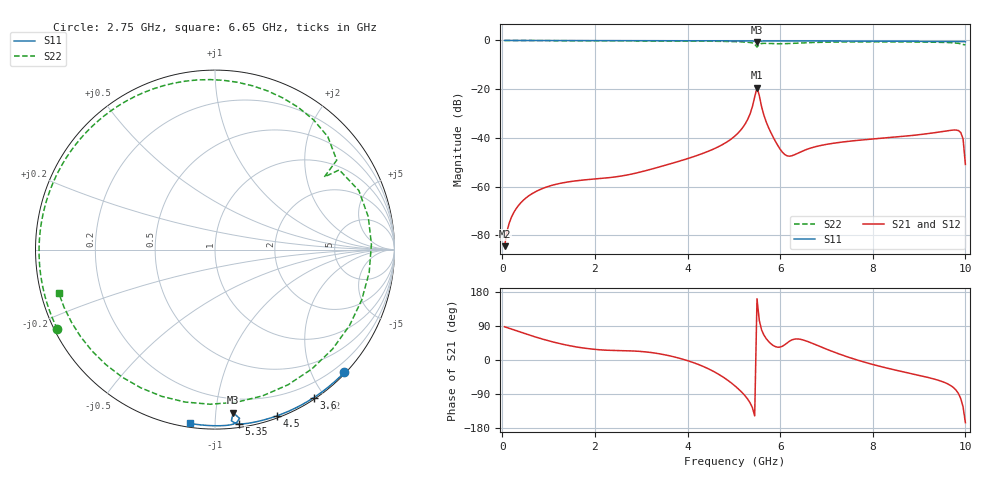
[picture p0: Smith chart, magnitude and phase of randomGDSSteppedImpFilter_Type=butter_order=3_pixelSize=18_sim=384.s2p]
! freq	dB(S11)	phase(S11)	dB(S12)	phase(S12)
!  dB(S21)	phase(S21)	dB(S22)	phase(S22)
!S-par simulation data
#  GHz  S  DB  R 50
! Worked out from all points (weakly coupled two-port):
!   200 points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, 50 MHz to 10 GHz, reference 50 ohm
!   highest |S21| = -19.36 dB at 5.5 GHz (marker M1); lowest = -84.4 dB at 50 MHz (marker M2)
!   lowest |S11| = -0.8 dB at 5.5 GHz (marker M3), VSWR 22.53, Z = 4.98 - j55.6 ohm
!   |S11| at or under -10 dB: nowhere
!   |S22| runs from -2.7 to 0.0 dB; largest |S21 - S12| = 0
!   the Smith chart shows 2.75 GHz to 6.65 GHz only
!   S11 on the Smith chart (normalised r, x): 2.75 GHz: 0.02, -2.51; 3.6 GHz: 0.02, -1.87; 4.5 GHz: 0.02, -1.44; 5.35 GHz: 0.02, -1.15; 6.65 GHz: 0.02, -0.86
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0.05  -0.00 -0.8  -84.39 87.7  -84.39 87.7  -0.00 -3.5
0.55  -0.01 -8.9  -64.04 67.1  -64.04 67.1  -0.05 -37.5
1.15  -0.02 -18.5  -59.04 45.9  -59.04 45.9  -0.09 -74.9
1.75  -0.04 -28.0  -57.25 31.7  -57.25 31.7  -0.11 -107.5
2.75  -0.06 -43.5  -54.98 24.1  -54.98 24.1  -0.14 -153.2
3.4  -0.07 -53.3  -51.85 16.3  -51.85 16.3  -0.17 179.6
3.6  -0.08 -56.3  -50.76 11.4  -50.76 11.4  -0.19 171.0
4.5  -0.10 -69.4  -45.06 -26.2  -45.06 -26.2  -0.29 127.1
5.05  -0.12 -77.3  -38.75 -71.1  -38.75 -71.1  -0.50 87.1
5.35  -0.17 -82.2  -30.14 -112.8  -30.14 -112.8  -0.84 52.8
5.5  -0.77 -83.6  -19.36 161.6  -19.36 161.6  -2.72 33.6
5.75  -0.17 -85.8  -35.77 48.8  -35.77 48.8  -1.23 -8.4
6.1  -0.17 -90.9  -46.81 40.3  -46.81 40.3  -1.32 -82.1
6.4  -0.18 -95.0  -46.09 55.3  -46.09 55.3  -1.08 -133.5
6.65  -0.19 -98.3  -44.20 46.2  -44.20 46.2  -0.88 -164.5
6.7  -0.19 -98.9  -43.91 43.8  -43.91 43.8  -0.85 -169.7
7.45  -0.24 -108.6  -41.43 8.4  -41.43 8.4  -0.60 134.1
8.35  -0.31 -120.0  -39.87 -22.7  -39.87 -22.7  -0.57 87.3
9.1  -0.38 -129.3  -38.44 -43.3  -38.44 -43.3  -0.65 51.1
9.85  -0.45 -138.6  -36.97 -88.4  -36.97 -88.4  -1.17 10.3
9.95  -0.48 -139.9  -40.36 -123.7  -40.36 -123.7  -1.66 5.1
10  -0.50 -140.5  -50.86 -165.4  -50.86 -165.4  -1.83 4.7
